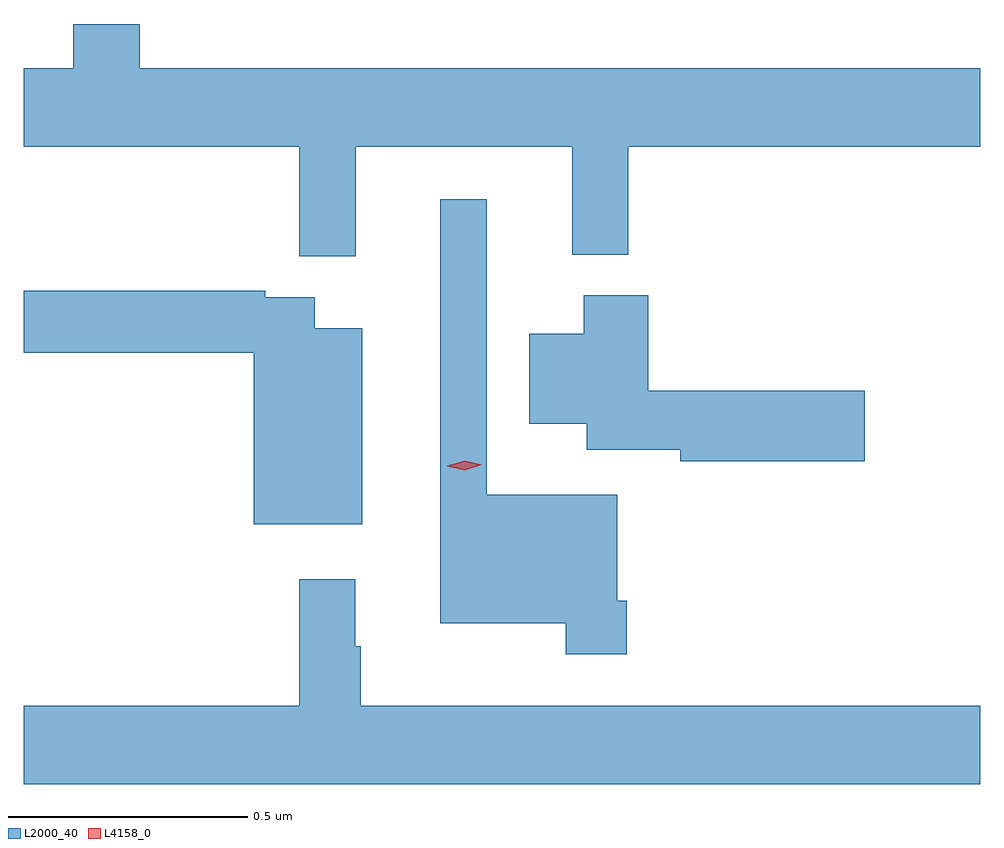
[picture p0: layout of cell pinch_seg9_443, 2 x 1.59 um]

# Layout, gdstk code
import gdstk
lib = gdstk.Library(unit=1e-6, precision=1e-09)
def P(c, l, *ps):  # polygons
    for p in ps: c.add(gdstk.Polygon(p, *l))
L2000_40 = (2000, 40)
L4158_0 = (4158, 0)

pinch_seg9_443 = lib.new_cell('pinch_seg9_443')
P(pinch_seg9_443, L2000_40, [(221.501,1240.376),(221.954,1240.376),(221.954,1240.151),(222.071,1240.151),(222.071,1240.376),(222.807,1240.376),(222.807,1240.54),(221.05,1240.54),(221.05,1240.633),(220.911,1240.633),(220.911,1240.54),(220.807,1240.54),(220.807,1240.376),(221.383,1240.376),(221.383,1240.147),(221.501,1240.147)],
  [(222.068,1239.427),(222.048,1239.427),(222.048,1239.649),(221.775,1239.649),(221.775,1240.267),(221.678,1240.267),(221.678,1239.38),(221.94,1239.38),(221.94,1239.315),(222.068,1239.315)],
  [(221.515,1239.997),(221.416,1239.997),(221.416,1240.062),(221.312,1240.062),(221.312,1240.075),(220.807,1240.075),(220.807,1239.946),(221.288,1239.946),(221.288,1239.587),(221.515,1239.587)],
  [(222.565,1239.866),(222.113,1239.866),(222.113,1240.066),(221.978,1240.066),(221.978,1239.985),(221.864,1239.985),(221.864,1239.797),(221.984,1239.797),(221.984,1239.743),(222.18,1239.743),(222.18,1239.719),(222.565,1239.719)],
  [(222.807,1239.208),(221.512,1239.208),(221.512,1239.332),(221.5,1239.332),(221.5,1239.472),(221.383,1239.472),(221.383,1239.208),(220.807,1239.208),(220.807,1239.044),(222.807,1239.044)])
P(pinch_seg9_443, L4158_0, [(221.729,1239.7),(221.693,1239.708),(221.693,1239.708),(221.693,1239.709),(221.729,1239.72),(221.765,1239.711),(221.765,1239.711),(221.765,1239.711)])

lib.write_gds('pinch_seg9_443.gds')
